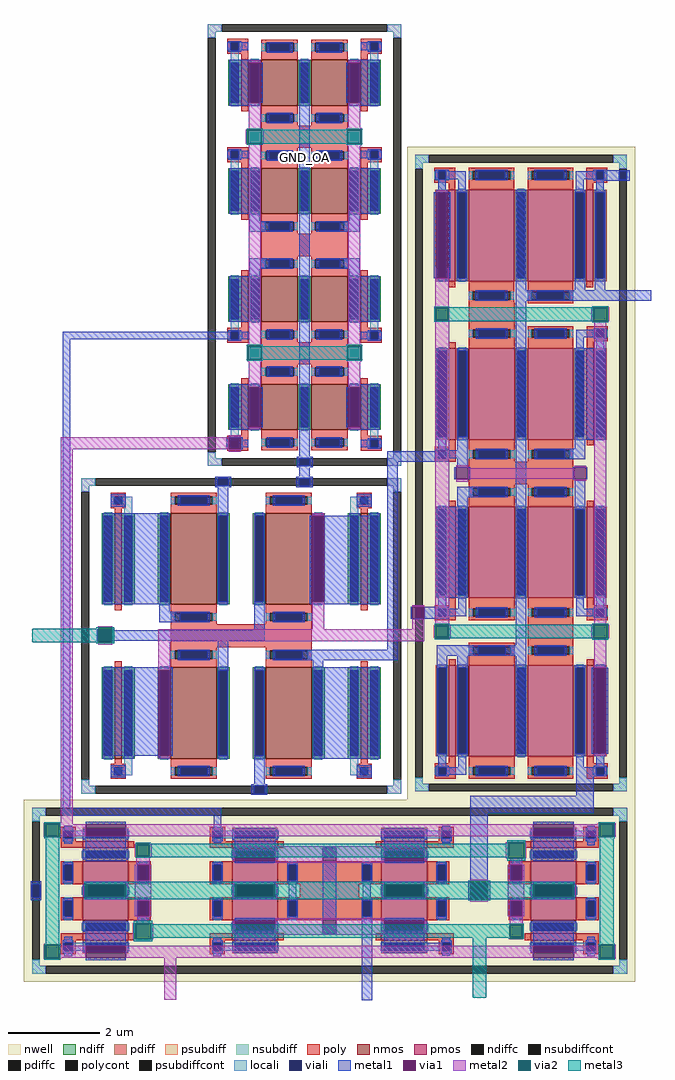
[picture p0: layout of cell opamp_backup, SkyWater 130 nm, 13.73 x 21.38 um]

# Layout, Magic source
magic
tech sky130A
magscale 1 2
<< viali >>
rect -473 1374 -425 1408
<< metal1 >>
rect 820 2184 1069 2230
rect -1509 2016 -788 2050
rect -1509 -36 -1475 2016
rect -791 1534 -781 1586
rect -729 1534 -719 1586
rect -87 1479 182 1525
rect -473 1414 -426 1462
rect -485 1408 -413 1414
rect -485 1374 -473 1408
rect -425 1374 -413 1408
rect -485 1368 -413 1374
rect -1358 693 -1348 745
rect -1296 741 -1286 745
rect -1296 696 -690 741
rect -1296 693 -1286 696
rect -87 657 -41 1479
rect 17 793 23 845
rect 75 793 184 845
rect -412 611 -41 657
rect 741 17 817 139
rect -1509 -70 -813 -36
rect -847 -170 -813 -70
rect 278 -59 817 17
rect 278 -361 354 -59
rect 268 -437 278 -361
rect 354 -437 364 -361
rect -199 -878 -153 -511
<< via1 >>
rect -781 1534 -729 1586
rect -1348 693 -1296 745
rect 23 793 75 845
rect 278 -437 354 -361
<< metal2 >>
rect -781 1586 -729 1596
rect -1517 1534 -781 1586
rect -1517 -159 -1465 1534
rect -781 1524 -729 1534
rect 23 845 75 851
rect -1352 749 -1292 759
rect 23 745 75 793
rect -415 693 75 745
rect -1352 679 -1292 689
rect 278 -361 354 -351
rect 278 -447 354 -437
rect -1063 -877 -1011 -641
<< via2 >>
rect -1352 745 -1292 749
rect -1352 693 -1348 745
rect -1348 693 -1296 745
rect -1296 693 -1292 745
rect -1352 689 -1292 693
rect 278 -437 354 -361
<< metal3 >>
rect -1362 749 -1282 754
rect -1641 689 -1352 749
rect -1292 689 -1282 749
rect -1362 684 -1282 689
rect 268 -361 364 -356
rect 268 -437 278 -361
rect 354 -437 364 -361
rect 268 -442 364 -437
rect 287 -868 347 -546
use nmoscs34  nmoscs34_0
transform 1 0 -656 0 1 765
box -770 -745 630 649
use nmoscs89  nmoscs89_0
transform 1 0 -696 0 1 2952
box -176 -1496 670 445
use pmoscs67  pmoscs67_0
transform 0 1 548 -1 0 -282
box -282 -2226 516 452
use pmoscs  pmoscs_0
transform 1 0 153 0 1 1705
box -153 -1705 846 1155
<< labels >>
flabel space -448 2812 -448 2812 0 FreeSans 480 0 0 0 GND_OA
port 4 nsew
<< end >>

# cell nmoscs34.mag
magic
tech sky130A
magscale 1 2
<< psubdiff >>
rect -770 609 -710 643
rect 570 609 630 643
rect -770 583 -736 609
rect 596 583 630 609
rect -770 -705 -736 -679
rect 596 -705 630 -679
rect -770 -739 -710 -705
rect 570 -739 630 -705
<< psubdiffcont >>
rect -710 609 570 643
rect -770 -679 -736 583
rect 596 -679 630 583
rect -710 -739 570 -705
<< poly >>
rect -178 2 38 3
rect -378 -98 238 2
<< locali >>
rect -770 609 -710 643
rect 570 609 630 643
rect -770 583 -736 609
rect 596 583 630 609
rect -592 528 -548 562
rect -582 478 -548 528
rect 408 528 486 562
rect 408 478 442 528
rect -582 -624 -548 -574
rect -626 -658 -548 -624
rect 408 -624 442 -574
rect 408 -658 486 -624
rect -770 -705 -736 -679
rect 596 -705 630 -679
rect -770 -739 -710 -705
rect 570 -739 630 -705
<< viali >>
rect -172 609 -126 643
rect -14 -739 32 -705
<< metal1 >>
rect -184 643 -114 649
rect -184 609 -172 643
rect -126 609 -114 643
rect -184 603 -114 609
rect -642 518 -576 572
rect -172 490 -126 603
rect 436 518 502 572
rect -676 90 -384 490
rect 231 102 241 478
rect 293 102 536 478
rect 231 90 536 102
rect -430 58 -384 90
rect -430 12 -348 58
rect -14 -23 32 90
rect -172 -69 32 -23
rect -676 -198 -371 -186
rect -172 -187 -126 -69
rect 209 -154 290 -108
rect 244 -186 290 -154
rect -676 -574 -433 -198
rect -381 -574 -371 -198
rect 244 -586 536 -186
rect -172 -587 -126 -586
rect -642 -668 -576 -614
rect -14 -699 32 -586
rect 436 -668 502 -614
rect -26 -705 44 -699
rect -26 -739 -14 -705
rect 32 -739 44 -705
rect -26 -745 44 -739
<< via1 >>
rect 241 102 293 478
rect -433 -574 -381 -198
<< metal2 >>
rect 241 478 293 488
rect 241 -20 293 102
rect -433 -72 293 -20
rect -433 -198 -381 -72
rect -433 -584 -381 -574
use sky130_fd_pr__nfet_01v8_46AAJJ  sky130_fd_pr__nfet_01v8_46AAJJ_0
transform 1 0 -278 0 1 290
box -158 -288 158 288
use sky130_fd_pr__nfet_01v8_46AAJJ  sky130_fd_pr__nfet_01v8_46AAJJ_1
transform 1 0 138 0 1 -386
box -158 -288 158 288
use sky130_fd_pr__nfet_01v8_46AAJJ  sky130_fd_pr__nfet_01v8_46AAJJ_2
transform 1 0 138 0 1 290
box -158 -288 158 288
use sky130_fd_pr__nfet_01v8_46AAJJ  sky130_fd_pr__nfet_01v8_46AAJJ_3
transform 1 0 -278 0 1 -386
box -158 -288 158 288
use sky130_fd_pr__nfet_01v8_TCR5KT  sky130_fd_pr__nfet_01v8_TCR5KT_0
transform 1 0 -609 0 -1 -417
box -73 -257 73 257
use sky130_fd_pr__nfet_01v8_TCR5KT  sky130_fd_pr__nfet_01v8_TCR5KT_1
transform 1 0 -609 0 1 321
box -73 -257 73 257
use sky130_fd_pr__nfet_01v8_TCR5KT  sky130_fd_pr__nfet_01v8_TCR5KT_2
transform 1 0 469 0 1 321
box -73 -257 73 257
use sky130_fd_pr__nfet_01v8_TCR5KT  sky130_fd_pr__nfet_01v8_TCR5KT_3
transform 1 0 469 0 -1 -417
box -73 -257 73 257
<< labels >>
flabel metal1 -493 267 -493 267 0 FreeSans 800 0 0 0 D3
port 0 nsew
flabel metal1 336 267 336 267 0 FreeSans 800 0 0 0 D4
port 1 nsew
flabel metal1 -151 -141 -151 -141 0 FreeSans 800 0 0 0 RS
port 2 nsew
flabel metal1 10 -649 10 -649 0 FreeSans 800 0 0 0 GND
port 3 nsew
flabel space 138 292 138 292 0 FreeSans 160 0 0 0 M4
flabel space -272 -387 -272 -387 0 FreeSans 160 0 0 0 M4
flabel space 142 -379 142 -379 0 FreeSans 160 0 0 0 M3
flabel space -280 292 -280 292 0 FreeSans 160 0 0 0 M3
flabel metal1 -406 370 -406 370 0 FreeSans 160 0 0 0 D3
flabel metal1 270 -471 270 -471 0 FreeSans 160 0 0 0 D3
flabel via1 265 380 265 380 0 FreeSans 160 0 0 0 D4
flabel via1 -410 -471 -406 -469 0 FreeSans 160 0 0 0 D4
<< end >>

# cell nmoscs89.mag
magic
tech sky130A
magscale 1 2
<< psubdiff >>
rect -176 411 -116 445
rect 610 411 670 445
rect -176 385 -142 411
rect 636 385 670 411
rect -176 -1456 -142 -1430
rect 636 -1456 670 -1430
rect -176 -1490 -116 -1456
rect 610 -1490 670 -1456
<< psubdiffcont >>
rect -116 411 610 445
rect -176 -1430 -142 385
rect 636 -1430 670 385
rect -116 -1490 610 -1456
<< poly >>
rect -92 364 0 380
rect -92 330 -76 364
rect -42 330 0 364
rect -92 314 0 330
rect 494 364 586 380
rect 494 330 536 364
rect 570 330 586 364
rect 494 314 586 330
rect -92 -110 0 -94
rect 58 -98 436 0
rect -92 -144 -76 -110
rect -42 -144 0 -110
rect -92 -160 0 -144
rect 494 -110 586 -94
rect 494 -144 536 -110
rect 570 -144 586 -110
rect 494 -160 586 -144
rect 58 -572 436 -474
rect -92 -902 0 -886
rect -92 -936 -76 -902
rect -42 -936 0 -902
rect -92 -952 0 -936
rect 494 -902 586 -886
rect 494 -936 536 -902
rect 570 -936 586 -902
rect 58 -1045 436 -948
rect 494 -952 586 -936
rect -92 -1375 0 -1359
rect -92 -1409 -76 -1375
rect -42 -1409 0 -1375
rect -92 -1425 0 -1409
rect 494 -1375 586 -1359
rect 494 -1409 536 -1375
rect 570 -1409 586 -1375
rect 494 -1425 586 -1409
<< polycont >>
rect -76 330 -42 364
rect 536 330 570 364
rect -76 -144 -42 -110
rect 536 -144 570 -110
rect -76 -936 -42 -902
rect 536 -936 570 -902
rect -76 -1409 -42 -1375
rect 536 -1409 570 -1375
<< locali >>
rect -176 411 -116 445
rect 610 411 670 445
rect -176 385 -142 411
rect 636 385 670 411
rect -92 330 -76 364
rect -42 330 -26 364
rect 520 330 536 364
rect 570 330 586 364
rect -76 276 -42 330
rect 536 276 570 330
rect -92 -144 -76 -110
rect -42 -144 -26 -110
rect 520 -144 536 -110
rect 570 -144 586 -110
rect -76 -198 -42 -144
rect 536 -198 570 -144
rect -76 -902 -42 -848
rect 536 -902 570 -848
rect -92 -936 -76 -902
rect -42 -936 -26 -902
rect 520 -936 536 -902
rect 570 -936 586 -902
rect -76 -1375 -42 -1321
rect 536 -1375 570 -1321
rect -92 -1409 -76 -1375
rect -42 -1409 -26 -1375
rect 520 -1409 536 -1375
rect 570 -1409 586 -1375
rect -176 -1456 -142 -1430
rect 636 -1456 670 -1430
rect -176 -1490 -116 -1456
rect 610 -1490 670 -1456
<< viali >>
rect -76 330 -42 364
rect 536 330 570 364
rect -76 -144 -42 -110
rect 536 -144 570 -110
rect -76 -936 -42 -902
rect 536 -936 570 -902
rect -76 -1409 -42 -1375
rect 536 -1409 570 -1375
rect 224 -1490 270 -1456
<< metal1 >>
rect -88 364 -30 370
rect 524 364 582 370
rect -92 330 -76 364
rect -42 330 0 364
rect 494 330 536 364
rect 570 330 586 364
rect -88 324 -30 330
rect 524 324 582 330
rect -82 276 52 288
rect -82 100 3 276
rect 55 100 65 276
rect -82 88 52 100
rect -88 -110 -30 -104
rect -92 -144 -76 -110
rect -42 -144 0 -110
rect -88 -150 -30 -144
rect -82 -386 52 -186
rect 6 -418 52 -386
rect 6 -464 81 -418
rect 6 -628 81 -582
rect 6 -660 52 -628
rect -82 -860 52 -660
rect -88 -902 -30 -896
rect -92 -936 -76 -902
rect -42 -936 0 -902
rect -88 -942 -30 -936
rect -82 -1145 52 -1133
rect -82 -1321 3 -1145
rect 55 -1321 65 -1145
rect -82 -1333 52 -1321
rect 224 -1333 270 288
rect 442 276 576 288
rect 429 100 439 276
rect 491 100 576 276
rect 442 88 576 100
rect 524 -110 582 -104
rect 494 -144 536 -110
rect 570 -144 586 -110
rect 524 -150 582 -144
rect 442 -386 576 -186
rect 442 -418 488 -386
rect 413 -464 488 -418
rect 413 -628 488 -582
rect 442 -660 488 -628
rect 442 -860 576 -660
rect 524 -902 582 -896
rect 494 -936 536 -902
rect 570 -936 586 -902
rect 524 -942 582 -936
rect 442 -1145 576 -1133
rect 429 -1321 439 -1145
rect 491 -1321 576 -1145
rect 442 -1333 576 -1321
rect -88 -1375 -30 -1369
rect -92 -1409 -76 -1375
rect -42 -1409 0 -1375
rect -88 -1415 -30 -1409
rect 223 -1450 270 -1333
rect 524 -1375 582 -1369
rect 494 -1409 536 -1375
rect 570 -1409 586 -1375
rect 524 -1415 582 -1409
rect 212 -1456 282 -1450
rect 212 -1490 224 -1456
rect 270 -1490 282 -1456
rect 212 -1496 282 -1490
<< via1 >>
rect 3 100 55 276
rect 3 -1321 55 -1145
rect 439 100 491 276
rect 439 -1321 491 -1145
<< metal2 >>
rect 3 276 55 286
rect 3 -19 55 100
rect 439 276 491 286
rect 439 -10 491 100
rect 435 -19 495 -10
rect -10 -79 -1 -19
rect 59 -79 68 -19
rect 3 -957 55 -79
rect 435 -88 495 -79
rect 439 -957 491 -88
rect -1 -966 59 -957
rect -1 -1035 59 -1026
rect 435 -966 495 -957
rect 435 -1035 495 -1026
rect 3 -1145 55 -1035
rect 3 -1331 55 -1321
rect 439 -1145 491 -1035
rect 439 -1331 491 -1321
<< via2 >>
rect -1 -79 59 -19
rect 435 -79 495 -19
rect -1 -1026 59 -966
rect 435 -1026 495 -966
<< metal3 >>
rect -6 -19 64 -14
rect 430 -19 500 -14
rect -6 -79 -1 -19
rect 59 -79 435 -19
rect 495 -79 500 -19
rect -6 -84 64 -79
rect 430 -84 500 -79
rect -6 -966 64 -961
rect 430 -966 500 -961
rect -6 -1026 -1 -966
rect 59 -1026 435 -966
rect 495 -1026 500 -966
rect -6 -1031 64 -1026
rect 430 -1031 500 -1026
use sky130_fd_pr__nfet_01v8_5MNGEB  sky130_fd_pr__nfet_01v8_5MNGEB_0
transform 1 0 247 0 1 -1233
box -247 -188 247 188
use sky130_fd_pr__nfet_01v8_5MNGEB  sky130_fd_pr__nfet_01v8_5MNGEB_1
transform 1 0 247 0 1 188
box -247 -188 247 188
use sky130_fd_pr__nfet_01v8_5MNGEB  sky130_fd_pr__nfet_01v8_5MNGEB_2
transform 1 0 247 0 1 -286
box -247 -188 247 188
use sky130_fd_pr__nfet_01v8_5MNGEB  sky130_fd_pr__nfet_01v8_5MNGEB_3
transform 1 0 247 0 1 -760
box -247 -188 247 188
use sky130_fd_pr__nfet_01v8_VGC7SA  sky130_fd_pr__nfet_01v8_VGC7SA_0
transform 1 0 -15 0 1 -1233
box -73 -126 73 126
use sky130_fd_pr__nfet_01v8_VGC7SA  sky130_fd_pr__nfet_01v8_VGC7SA_1
transform 1 0 509 0 1 -1233
box -73 -126 73 126
use sky130_fd_pr__nfet_01v8_VGC7SA  sky130_fd_pr__nfet_01v8_VGC7SA_2
transform 1 0 509 0 1 -760
box -73 -126 73 126
use sky130_fd_pr__nfet_01v8_VGC7SA  sky130_fd_pr__nfet_01v8_VGC7SA_3
transform 1 0 509 0 1 -286
box -73 -126 73 126
use sky130_fd_pr__nfet_01v8_VGC7SA  sky130_fd_pr__nfet_01v8_VGC7SA_4
transform 1 0 509 0 1 188
box -73 -126 73 126
use sky130_fd_pr__nfet_01v8_VGC7SA  sky130_fd_pr__nfet_01v8_VGC7SA_5
transform 1 0 -15 0 1 188
box -73 -126 73 126
use sky130_fd_pr__nfet_01v8_VGC7SA  sky130_fd_pr__nfet_01v8_VGC7SA_6
transform 1 0 -15 0 1 -286
box -73 -126 73 126
use sky130_fd_pr__nfet_01v8_VGC7SA  sky130_fd_pr__nfet_01v8_VGC7SA_7
transform 1 0 -15 0 1 -760
box -73 -126 73 126
<< labels >>
flabel metal1 246 47 246 47 0 FreeSans 800 0 0 0 GND
port 1 nsew
flabel metal2 28 -437 28 -437 0 FreeSans 800 0 0 0 D9
port 2 nsew
flabel metal1 518 -777 518 -777 0 FreeSans 800 0 0 0 D8
port 3 nsew
flabel space 359 -292 359 -292 0 FreeSans 160 0 0 0 M8
flabel space 130 -288 130 -288 0 FreeSans 160 0 0 0 M8
flabel space 356 -754 356 -754 0 FreeSans 160 0 0 0 M8
flabel space 140 -752 140 -752 0 FreeSans 160 0 0 0 M8
flabel space 352 -1231 352 -1231 0 FreeSans 160 0 0 0 M9
flabel space 150 -1228 150 -1228 0 FreeSans 160 0 0 0 M9
flabel space 347 186 347 186 0 FreeSans 160 0 0 0 M9
flabel space 143 189 143 189 0 FreeSans 160 0 0 0 M9
<< end >>

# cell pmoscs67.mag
magic
tech sky130A
magscale 1 2
<< nwell >>
rect -282 -1996 516 452
rect -282 -1999 -101 -1996
rect -282 -2061 -96 -1999
rect -282 -2062 -64 -2061
rect 2 -2062 516 -1996
rect -282 -2226 516 -2062
<< nsubdiff >>
rect -246 382 -186 416
rect 420 382 480 416
rect -246 356 -212 382
rect 446 356 480 382
rect -246 -2156 -212 -2130
rect 446 -2156 480 -2130
rect -246 -2190 -186 -2156
rect 420 -2190 480 -2156
<< nsubdiffcont >>
rect -186 382 420 416
rect -246 -2130 -212 356
rect 446 -2130 480 356
rect -186 -2190 420 -2156
<< poly >>
rect -162 275 -70 291
rect -162 241 -146 275
rect -112 241 -70 275
rect -162 225 -70 241
rect -100 220 -70 225
rect 304 275 396 291
rect 304 241 346 275
rect 380 241 396 275
rect 304 225 396 241
rect 304 220 334 225
rect -162 -359 -70 -343
rect -162 -393 -146 -359
rect -112 -393 -70 -359
rect -162 -409 -70 -393
rect -100 -434 -70 -409
rect 304 -359 396 -343
rect 304 -393 346 -359
rect 380 -393 396 -359
rect 304 -409 396 -393
rect 304 -434 334 -409
rect -12 -1017 246 -757
rect -100 -1345 -70 -1340
rect -162 -1361 -70 -1345
rect -162 -1395 -146 -1361
rect -112 -1395 -70 -1361
rect -162 -1411 -70 -1395
rect 304 -1346 334 -1340
rect 304 -1362 396 -1346
rect 304 -1396 346 -1362
rect 380 -1396 396 -1362
rect 304 -1412 396 -1396
rect -100 -1999 -70 -1994
rect -162 -2015 -70 -1999
rect -162 -2049 -146 -2015
rect -112 -2049 -70 -2015
rect -162 -2065 -70 -2049
rect 304 -1999 334 -1994
rect 304 -2015 396 -1999
rect 304 -2049 346 -2015
rect 380 -2049 396 -2015
rect 304 -2065 396 -2049
<< polycont >>
rect -146 241 -112 275
rect 346 241 380 275
rect -146 -393 -112 -359
rect 346 -393 380 -359
rect -146 -1395 -112 -1361
rect 346 -1396 380 -1362
rect -146 -2049 -112 -2015
rect 346 -2049 380 -2015
<< locali >>
rect -246 382 -186 416
rect 420 382 480 416
rect -246 356 -212 382
rect 446 356 480 382
rect -162 241 -146 275
rect -112 241 -96 275
rect 330 241 346 275
rect 380 241 396 275
rect -146 181 -112 241
rect 346 179 380 241
rect -162 -393 -146 -359
rect -112 -393 -96 -359
rect 330 -393 346 -359
rect 380 -393 396 -359
rect -146 -476 -112 -393
rect -146 -1361 -112 -1302
rect -162 -1395 -146 -1361
rect -112 -1395 -96 -1361
rect 346 -1362 380 -1302
rect 330 -1396 346 -1362
rect 380 -1396 396 -1362
rect -146 -2015 -112 -1956
rect 346 -2015 380 -1956
rect -162 -2049 -146 -2015
rect -112 -2049 -96 -2015
rect 330 -2049 346 -2015
rect 380 -2049 396 -2015
rect -246 -2156 -212 -2130
rect 446 -2156 480 -2130
rect -246 -2190 -186 -2156
rect 420 -2190 480 -2156
<< viali >>
rect -146 241 -112 275
rect 346 241 380 275
rect -146 -393 -112 -359
rect 346 -393 380 -359
rect -146 -1395 -112 -1361
rect 346 -1396 380 -1362
rect -146 -2049 -112 -2015
rect 346 -2049 380 -2015
rect 88 -2190 146 -2156
<< metal1 >>
rect -158 275 -100 281
rect 334 275 392 281
rect -168 241 -146 275
rect -112 241 -82 275
rect 320 241 346 275
rect 380 241 405 275
rect -158 235 -100 241
rect 334 235 392 241
rect -184 6 -174 182
rect -122 6 -14 182
rect 79 6 89 182
rect 145 6 155 182
rect 248 6 359 182
rect 411 6 421 182
rect -6 -96 4 -44
rect 72 -96 82 -44
rect 152 -96 162 -44
rect 230 -96 240 -44
rect -158 -359 -100 -353
rect 334 -359 392 -353
rect -168 -393 -146 -359
rect -112 -393 -90 -359
rect 324 -393 346 -359
rect 380 -393 403 -359
rect -158 -399 -100 -393
rect 334 -399 392 -393
rect 345 -472 380 -399
rect -156 -648 -67 -472
rect -15 -648 -5 -472
rect 79 -648 89 -472
rect 145 -648 155 -472
rect 239 -648 249 -472
rect 301 -648 390 -472
rect 80 -741 155 -707
rect -77 -917 -71 -857
rect -11 -917 245 -857
rect 305 -917 311 -857
rect 78 -1067 155 -1033
rect -156 -1302 -67 -1126
rect -15 -1302 -5 -1126
rect 79 -1302 89 -1126
rect 145 -1302 155 -1126
rect 239 -1302 249 -1126
rect 301 -1302 390 -1126
rect -158 -1361 -100 -1355
rect -172 -1395 -146 -1361
rect -112 -1395 -92 -1361
rect 334 -1362 392 -1356
rect -158 -1401 -100 -1395
rect 324 -1396 346 -1362
rect 380 -1396 405 -1362
rect 334 -1402 392 -1396
rect -6 -1730 4 -1678
rect 72 -1730 82 -1678
rect 152 -1730 162 -1678
rect 230 -1730 240 -1678
rect -184 -1956 -174 -1780
rect -122 -1956 -14 -1780
rect 79 -1956 89 -1780
rect 145 -1956 155 -1780
rect 248 -1956 359 -1780
rect 411 -1956 422 -1780
rect -158 -2015 -100 -2009
rect 334 -2015 392 -2009
rect -168 -2049 -146 -2015
rect -112 -2049 -88 -2015
rect 320 -2049 346 -2015
rect 380 -2049 404 -2015
rect -158 -2055 -100 -2049
rect 334 -2055 392 -2049
rect 76 -2156 158 -2150
rect 76 -2190 88 -2156
rect 146 -2190 158 -2156
rect 76 -2196 158 -2190
<< via1 >>
rect -174 6 -122 182
rect 89 6 145 182
rect 359 6 411 182
rect 4 -96 72 -44
rect 162 -96 230 -44
rect -67 -648 -15 -472
rect 89 -648 145 -472
rect 249 -648 301 -472
rect -71 -917 -11 -857
rect 245 -917 305 -857
rect -67 -1302 -15 -1126
rect 89 -1302 145 -1126
rect 249 -1302 301 -1126
rect 4 -1730 72 -1678
rect 162 -1730 230 -1678
rect -174 -1956 -122 -1780
rect 89 -1956 145 -1780
rect 359 -1956 411 -1780
<< metal2 >>
rect -178 357 -118 366
rect -178 288 -118 297
rect 355 357 415 366
rect 355 288 415 297
rect -174 182 -122 288
rect -174 -1780 -122 6
rect 89 182 145 192
rect 89 -4 145 6
rect 359 182 411 288
rect -94 -35 -24 -25
rect 4 -42 230 -34
rect 4 -44 266 -42
rect -24 -96 4 -44
rect 72 -96 162 -44
rect 230 -96 266 -44
rect -94 -115 -24 -105
rect 4 -98 266 -96
rect 322 -98 331 -42
rect 4 -106 230 -98
rect -67 -472 -15 -462
rect 89 -472 145 -462
rect 249 -472 301 -462
rect -77 -857 -5 -648
rect 89 -658 145 -648
rect -77 -917 -71 -857
rect -11 -917 -5 -857
rect -77 -1126 -5 -917
rect 239 -857 311 -648
rect 239 -917 245 -857
rect 305 -917 311 -857
rect 89 -1126 145 -1116
rect 239 -1126 311 -917
rect -67 -1312 -15 -1302
rect 89 -1312 145 -1302
rect 249 -1312 301 -1302
rect -87 -1674 -31 -1667
rect 4 -1674 230 -1668
rect -89 -1676 230 -1674
rect -89 -1732 -87 -1676
rect -31 -1678 230 -1676
rect 259 -1669 329 -1659
rect -31 -1730 4 -1678
rect 72 -1730 162 -1678
rect 230 -1730 259 -1678
rect -31 -1732 230 -1730
rect -89 -1734 230 -1732
rect -87 -1741 -31 -1734
rect 4 -1740 230 -1734
rect 259 -1749 329 -1739
rect -174 -2062 -122 -1956
rect 89 -1780 145 -1770
rect 89 -1966 145 -1956
rect 359 -1780 411 6
rect 359 -2062 411 -1956
rect -178 -2071 -118 -2062
rect -178 -2140 -118 -2131
rect 355 -2071 415 -2062
rect 355 -2140 415 -2131
<< via2 >>
rect -178 297 -118 357
rect 355 297 415 357
rect 89 6 145 182
rect -94 -105 -24 -35
rect 266 -98 322 -42
rect 89 -648 145 -472
rect 89 -1302 145 -1126
rect -87 -1732 -31 -1676
rect 259 -1739 329 -1669
rect 89 -1956 145 -1780
rect -178 -2131 -118 -2071
rect 355 -2131 415 -2071
<< metal3 >>
rect -183 357 -113 362
rect 350 357 420 362
rect -183 297 -178 357
rect -118 297 355 357
rect 415 297 420 357
rect -183 292 -113 297
rect 350 292 420 297
rect 79 182 155 187
rect 79 6 89 182
rect 145 6 155 182
rect -104 -35 -14 -30
rect -104 -105 -94 -35
rect -24 -105 -14 -35
rect -104 -110 -14 -105
rect -89 -1671 -29 -110
rect 79 -472 155 6
rect 261 -42 327 -37
rect 261 -98 266 -42
rect 322 -98 327 -42
rect 261 -103 327 -98
rect 79 -648 89 -472
rect 145 -648 155 -472
rect 79 -1126 155 -648
rect 79 -1302 89 -1126
rect 145 -1302 155 -1126
rect -92 -1676 -26 -1671
rect -92 -1732 -87 -1676
rect -31 -1732 -26 -1676
rect -92 -1737 -26 -1732
rect 79 -1780 155 -1302
rect 264 -1664 324 -103
rect 249 -1669 339 -1664
rect 249 -1739 259 -1669
rect 329 -1739 339 -1669
rect 249 -1744 339 -1739
rect 79 -1956 89 -1780
rect 145 -1956 155 -1780
rect 79 -1961 155 -1956
rect -183 -2071 -113 -2066
rect 350 -2071 420 -2066
rect -183 -2131 -178 -2071
rect -118 -2131 355 -2071
rect 415 -2131 420 -2071
rect -183 -2136 -113 -2131
rect 350 -2136 420 -2131
use sky130_fd_pr__pfet_01v8_2XUZHN  sky130_fd_pr__pfet_01v8_2XUZHN_0
transform 1 0 -85 0 1 -560
box -109 -162 109 162
use sky130_fd_pr__pfet_01v8_2XUZHN  sky130_fd_pr__pfet_01v8_2XUZHN_1
transform 1 0 -85 0 1 -1868
box -109 -162 109 162
use sky130_fd_pr__pfet_01v8_2XUZHN  sky130_fd_pr__pfet_01v8_2XUZHN_2
transform 1 0 -85 0 1 94
box -109 -162 109 162
use sky130_fd_pr__pfet_01v8_2XUZHN  sky130_fd_pr__pfet_01v8_2XUZHN_3
transform 1 0 319 0 1 94
box -109 -162 109 162
use sky130_fd_pr__pfet_01v8_2XUZHN  sky130_fd_pr__pfet_01v8_2XUZHN_4
transform 1 0 319 0 1 -560
box -109 -162 109 162
use sky130_fd_pr__pfet_01v8_2XUZHN  sky130_fd_pr__pfet_01v8_2XUZHN_5
transform 1 0 319 0 1 -1214
box -109 -162 109 162
use sky130_fd_pr__pfet_01v8_2XUZHN  sky130_fd_pr__pfet_01v8_2XUZHN_6
transform 1 0 -85 0 1 -1214
box -109 -162 109 162
use sky130_fd_pr__pfet_01v8_2XUZHN  sky130_fd_pr__pfet_01v8_2XUZHN_7
transform 1 0 319 0 1 -1868
box -109 -162 109 162
use sky130_fd_pr__pfet_01v8_BHVYY6  sky130_fd_pr__pfet_01v8_BHVYY6_0
transform 1 0 117 0 1 -1868
box -223 -200 223 200
use sky130_fd_pr__pfet_01v8_BHVYY6  sky130_fd_pr__pfet_01v8_BHVYY6_1
transform 1 0 117 0 1 94
box -223 -200 223 200
use sky130_fd_pr__pfet_01v8_BHVYY6  sky130_fd_pr__pfet_01v8_BHVYY6_2
transform 1 0 117 0 1 -560
box -223 -200 223 200
use sky130_fd_pr__pfet_01v8_BHVYY6  sky130_fd_pr__pfet_01v8_BHVYY6_3
transform 1 0 117 0 1 -1214
box -223 -200 223 200
<< labels >>
flabel nwell 36 -1868 36 -1868 0 FreeSans 160 0 0 0 M7
flabel nwell 200 -1867 200 -1867 0 FreeSans 160 0 0 0 M7
flabel nwell 34 -1215 34 -1215 0 FreeSans 160 0 0 0 M6
flabel nwell 201 -1212 201 -1212 0 FreeSans 160 0 0 0 M6
flabel nwell 33 -560 33 -560 0 FreeSans 160 0 0 0 M6
flabel nwell 196 -560 196 -560 0 FreeSans 160 0 0 0 M6
flabel metal1 83 -2172 83 -2172 0 FreeSans 800 0 0 0 VDD
port 1 nsew
flabel metal3 114 -1525 114 -1525 0 FreeSans 800 0 0 0 D5
port 2 nsew
flabel metal1 115 -1051 115 -1051 0 FreeSans 800 0 0 0 VIN
port 3 nsew
flabel metal1 323 -1210 323 -1210 0 FreeSans 800 0 0 0 D6
port 4 nsew
flabel metal2 112 -69 112 -69 0 FreeSans 800 0 0 0 VIP
port 6 nsew
flabel metal1 -87 99 -87 99 0 FreeSans 800 0 0 0 OUT
port 5 nsew
flabel nwell 201 92 201 92 0 FreeSans 160 0 0 0 M7
flabel nwell 34 95 34 95 0 FreeSans 160 0 0 0 M7
<< end >>

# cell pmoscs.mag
magic
tech sky130A
magscale 1 2
<< nwell >>
rect -153 -1705 846 1155
<< nsubdiff >>
rect -117 1085 -57 1119
rect 750 1085 810 1119
rect -117 1059 -83 1085
rect 776 1059 810 1085
rect -117 -1635 -83 -1609
rect 776 -1635 810 -1609
rect -117 -1669 -57 -1635
rect 750 -1669 810 -1635
<< nsubdiffcont >>
rect -57 1085 750 1119
rect -117 -1609 -83 1059
rect 776 -1609 810 1059
rect -57 -1669 750 -1635
<< poly >>
rect -33 1047 59 1063
rect -33 1013 -17 1047
rect 17 1013 59 1047
rect -33 997 59 1013
rect 29 966 59 997
rect 633 1047 725 1063
rect 633 1013 675 1047
rect 709 1013 725 1047
rect 633 997 725 1013
rect 633 991 663 997
rect 117 369 318 470
rect 634 353 726 369
rect 634 319 676 353
rect 710 319 726 353
rect 634 303 726 319
rect 634 272 664 303
rect 30 -159 60 -128
rect -32 -175 60 -159
rect -32 -209 -16 -175
rect 18 -209 60 -175
rect -32 -225 60 -209
rect 118 -325 576 -225
rect 30 -853 60 -822
rect -32 -869 60 -853
rect -32 -903 -16 -869
rect 18 -903 60 -869
rect -32 -919 60 -903
rect 634 -853 664 -822
rect 634 -869 726 -853
rect 634 -903 676 -869
rect 710 -903 726 -869
rect 376 -1021 576 -918
rect 634 -919 726 -903
rect 30 -1547 60 -1516
rect -32 -1563 60 -1547
rect -32 -1597 -16 -1563
rect 18 -1597 60 -1563
rect -32 -1613 60 -1597
rect 634 -1547 664 -1516
rect 634 -1563 726 -1547
rect 634 -1597 676 -1563
rect 710 -1597 726 -1563
rect 634 -1613 726 -1597
<< polycont >>
rect -17 1013 17 1047
rect 675 1013 709 1047
rect 676 319 710 353
rect -16 -209 18 -175
rect -16 -903 18 -869
rect 676 -903 710 -869
rect -16 -1597 18 -1563
rect 676 -1597 710 -1563
<< locali >>
rect -117 1085 -57 1119
rect 750 1085 810 1119
rect -117 1059 -83 1085
rect 776 1059 810 1085
rect -33 1013 -17 1047
rect 17 1013 33 1047
rect 659 1013 675 1047
rect 709 1013 725 1047
rect -17 966 17 1013
rect 71 966 105 970
rect 675 954 709 1013
rect 660 319 676 353
rect 710 319 726 353
rect 588 272 622 276
rect 676 272 710 319
rect -16 -175 18 -128
rect 72 -132 106 -128
rect -32 -209 -16 -175
rect 18 -209 34 -175
rect -16 -869 18 -822
rect 72 -826 106 -822
rect 588 -826 622 -822
rect 676 -869 710 -822
rect -32 -903 -16 -869
rect 18 -903 34 -869
rect 660 -903 676 -869
rect 710 -903 726 -869
rect -16 -1563 18 -1516
rect 72 -1520 106 -1516
rect 588 -1520 622 -1516
rect 676 -1563 710 -1516
rect -32 -1597 -16 -1563
rect 18 -1597 34 -1563
rect 660 -1597 676 -1563
rect 710 -1597 726 -1563
rect -117 -1635 -83 -1609
rect 776 -1635 810 -1609
rect -117 -1669 -57 -1635
rect 750 -1669 810 -1635
<< viali >>
rect -17 1013 17 1047
rect 675 1013 709 1047
rect 776 1012 810 1046
rect 676 319 710 353
rect -16 -209 18 -175
rect -16 -903 18 -869
rect 676 -903 710 -869
rect -16 -1597 18 -1563
rect 676 -1597 710 -1563
<< metal1 >>
rect -29 1047 29 1053
rect 663 1052 721 1053
rect 663 1047 823 1052
rect -29 1013 -17 1047
rect 17 1013 105 1047
rect -29 1007 29 1013
rect -17 966 17 1007
rect 71 966 105 1013
rect 587 1013 675 1047
rect 709 1046 823 1047
rect 709 1013 776 1046
rect -36 578 -26 954
rect 26 578 36 954
rect 324 525 369 966
rect 587 961 621 1013
rect 663 1012 776 1013
rect 810 1012 823 1046
rect 663 1007 823 1012
rect 664 1006 823 1007
rect 675 954 709 1006
rect 581 525 627 566
rect 669 525 715 566
rect 324 479 404 525
rect 546 479 715 525
rect -16 -169 18 -128
rect -28 -175 30 -169
rect 66 -175 112 -128
rect -28 -209 -16 -175
rect 18 -209 112 -175
rect -28 -215 30 -209
rect 66 -250 112 -209
rect 53 -302 63 -250
rect 115 -302 125 -250
rect 66 -381 147 -335
rect 66 -422 113 -381
rect -22 -822 112 -422
rect -16 -863 18 -822
rect -28 -869 30 -863
rect 72 -869 106 -822
rect -28 -903 -16 -869
rect 18 -903 106 -869
rect -28 -909 30 -903
rect 324 -1029 369 479
rect 664 353 722 359
rect 588 319 676 353
rect 710 319 722 353
rect 588 272 622 319
rect 664 313 722 319
rect 676 272 710 313
rect 582 -128 716 272
rect 582 -169 628 -128
rect 547 -215 628 -169
rect 573 -302 579 -250
rect 631 -302 637 -250
rect 582 -429 628 -302
rect 588 -869 622 -822
rect 676 -863 710 -822
rect 664 -869 722 -863
rect 588 -903 676 -869
rect 710 -903 722 -869
rect 664 -909 722 -903
rect -22 -1075 147 -1029
rect 289 -1075 369 -1029
rect -22 -1116 24 -1075
rect 66 -1116 112 -1075
rect 324 -1516 369 -1075
rect 657 -1504 667 -1128
rect 719 -1504 729 -1128
rect -16 -1557 18 -1516
rect -28 -1563 30 -1557
rect 72 -1563 106 -1516
rect -28 -1597 -16 -1563
rect 18 -1597 106 -1563
rect 588 -1563 622 -1516
rect 676 -1557 710 -1516
rect 664 -1563 722 -1557
rect 588 -1597 676 -1563
rect 710 -1597 722 -1563
rect -28 -1603 30 -1597
rect 664 -1603 722 -1597
<< via1 >>
rect -26 578 26 954
rect 63 -302 115 -250
rect 579 -302 631 -250
rect 667 -1504 719 -1128
<< metal2 >>
rect -26 954 26 964
rect -30 578 -26 625
rect 26 578 30 625
rect -30 453 30 578
rect -30 449 31 453
rect -30 393 -28 449
rect 28 393 31 449
rect -30 391 31 393
rect 654 391 663 451
rect 723 391 732 451
rect -29 -941 31 391
rect 63 -250 115 -240
rect 579 -250 631 -244
rect 115 -299 579 -253
rect 63 -312 115 -302
rect 579 -308 631 -302
rect 667 -939 719 391
rect -36 -997 -27 -941
rect 29 -997 38 -941
rect -29 -999 31 -997
rect 654 -999 663 -939
rect 723 -999 732 -939
rect 667 -1128 719 -999
rect 667 -1514 719 -1504
<< via2 >>
rect -28 393 28 449
rect 663 391 723 451
rect -27 -997 29 -941
rect 663 -999 723 -939
<< metal3 >>
rect -33 451 33 454
rect 658 451 728 456
rect -33 449 663 451
rect -33 393 -28 449
rect 28 393 663 449
rect -33 391 663 393
rect 723 391 728 451
rect -33 388 33 391
rect 658 386 728 391
rect -32 -939 34 -936
rect 658 -939 728 -934
rect -32 -941 663 -939
rect -32 -997 -27 -941
rect 29 -997 663 -941
rect -32 -999 663 -997
rect 723 -999 728 -939
rect -32 -1002 34 -999
rect 658 -1004 728 -999
use sky130_fd_pr__pfet_01v8_2ZH9AN  sky130_fd_pr__pfet_01v8_2ZH9AN_1
transform 1 0 45 0 1 -1316
box -109 -262 109 262
use sky130_fd_pr__pfet_01v8_2ZH9AN  sky130_fd_pr__pfet_01v8_2ZH9AN_2
transform 1 0 45 0 1 -622
box -109 -262 109 262
use sky130_fd_pr__pfet_01v8_2ZH9AN  sky130_fd_pr__pfet_01v8_2ZH9AN_3
transform 1 0 45 0 1 72
box -109 -262 109 262
use sky130_fd_pr__pfet_01v8_2ZH9AN  sky130_fd_pr__pfet_01v8_2ZH9AN_4
transform 1 0 44 0 1 766
box -109 -262 109 262
use sky130_fd_pr__pfet_01v8_2ZH9AN  sky130_fd_pr__pfet_01v8_2ZH9AN_5
transform 1 0 649 0 1 -1316
box -109 -262 109 262
use sky130_fd_pr__pfet_01v8_2ZH9AN  sky130_fd_pr__pfet_01v8_2ZH9AN_6
transform 1 0 648 0 1 766
box -109 -262 109 262
use sky130_fd_pr__pfet_01v8_2ZH9AN  sky130_fd_pr__pfet_01v8_2ZH9AN_7
transform 1 0 649 0 1 72
box -109 -262 109 262
use sky130_fd_pr__pfet_01v8_2ZH9AN  sky130_fd_pr__pfet_01v8_2ZH9AN_8
transform 1 0 649 0 1 -622
box -109 -262 109 262
use sky130_fd_pr__pfet_01v8_SDE6B7  sky130_fd_pr__pfet_01v8_SDE6B7_0
transform 1 0 346 0 1 766
box -323 -300 323 300
use sky130_fd_pr__pfet_01v8_SDE6B7  sky130_fd_pr__pfet_01v8_SDE6B7_1
transform 1 0 347 0 1 72
box -323 -300 323 300
use sky130_fd_pr__pfet_01v8_SDE6B7  sky130_fd_pr__pfet_01v8_SDE6B7_2
transform 1 0 347 0 1 -622
box -323 -300 323 300
use sky130_fd_pr__pfet_01v8_SDE6B7  sky130_fd_pr__pfet_01v8_SDE6B7_3
transform 1 0 347 0 1 -1316
box -323 -300 323 300
<< labels >>
flabel metal1 594 -378 594 -378 0 FreeSans 800 0 0 0 D1
port 0 nsew
flabel metal1 598 -1536 598 -1536 0 FreeSans 800 0 0 0 D5
port 1 nsew
flabel metal1 606 290 606 290 0 FreeSans 800 0 0 0 D2
port 2 nsew
flabel metal1 594 1022 594 1022 0 FreeSans 800 0 0 0 VDD
port 3 nsew
<< end >>

# cell sky130_fd_pr__pfet_01v8_2ZH9AN: kit device sky130_fd_pr__pfet_01v8, w 2 l 0.15 m 1 nf 1 diffcov 100 polycov 100 guard 0 glc 1 grc 1 gtc 1 gbc 1 tbcov 100 rlcov 100 topc 0 botc 0 poverlap 0 doverlap 1 lmin 0.15 wmin 0.42 compatible {sky130_fd_pr__pfet_01v8 sky130_fd_pr__pfet_01v8_lvt sky130_fd_pr__pfet_01v8_hvt sky130_fd_pr__pfet_g5v0d10v5} full_metal 1 viasrc 100 viadrn 100 viagate 100 viagb 0 viagr 0 viagl 0 viagt 0

# cell sky130_fd_pr__pfet_01v8_SDE6B7: kit device sky130_fd_pr__pfet_01v8, w 2 l 1 m 1 nf 2 diffcov 100 polycov 100 guard 0 glc 1 grc 1 gtc 1 gbc 1 tbcov 100 rlcov 100 topc 1 botc 1 poverlap 0 doverlap 1 lmin 0.15 wmin 0.42 compatible {sky130_fd_pr__pfet_01v8 sky130_fd_pr__pfet_01v8_lvt sky130_fd_pr__pfet_01v8_hvt sky130_fd_pr__pfet_g5v0d10v5} full_metal 1 viasrc 100 viadrn 100 viagate 70 viagb 0 viagr 0 viagl 0 viagt 0

# cell sky130_fd_pr__pfet_01v8_2XUZHN: kit device sky130_fd_pr__pfet_01v8, w 1 l 0.15 m 1 nf 1 diffcov 100 polycov 100 guard 0 glc 1 grc 1 gtc 1 gbc 1 tbcov 100 rlcov 100 topc 0 botc 0 poverlap 0 doverlap 1 lmin 0.15 wmin 0.42 compatible {sky130_fd_pr__pfet_01v8 sky130_fd_pr__pfet_01v8_lvt sky130_fd_pr__pfet_01v8_hvt sky130_fd_pr__pfet_g5v0d10v5} full_metal 1 viasrc 100 viadrn 100 viagate 100 viagb 0 viagr 0 viagl 0 viagt 0

# cell sky130_fd_pr__pfet_01v8_BHVYY6: kit device sky130_fd_pr__pfet_01v8, w 1 l 0.5 m 1 nf 2 diffcov 100 polycov 100 guard 0 glc 1 grc 1 gtc 1 gbc 1 tbcov 100 rlcov 100 topc 1 botc 1 poverlap 0 doverlap 1 lmin 0.15 wmin 0.42 compatible {sky130_fd_pr__pfet_01v8 sky130_fd_pr__pfet_01v8_lvt sky130_fd_pr__pfet_01v8_hvt sky130_fd_pr__pfet_g5v0d10v5} full_metal 1 viasrc 100 viadrn 100 viagate 100 viagb 0 viagr 0 viagl 0 viagt 0

# cell sky130_fd_pr__nfet_01v8_5MNGEB: kit device sky130_fd_pr__nfet_01v8, w 1 l 0.8 m 1 nf 2 diffcov 100 polycov 100 guard 0 glc 1 grc 1 gtc 1 gbc 1 tbcov 100 rlcov 100 topc 1 botc 1 poverlap 0 doverlap 1 lmin 0.15 wmin 0.42 compatible {sky130_fd_pr__nfet_01v8 sky130_fd_pr__nfet_01v8_lvt sky130_fd_bs_flash__special_sonosfet_star sky130_fd_pr__nfet_g5v0d10v5 sky130_fd_pr__nfet_05v0_nvt sky130_fd_pr__nfet_03v3_nvt} full_metal 1 viasrc 100 viadrn 100 viagate 70 viagb 0 viagr 0 viagl 0 viagt 0

# cell sky130_fd_pr__nfet_01v8_VGC7SA: kit device sky130_fd_pr__nfet_01v8, w 1 l 0.150 m 1 nf 1 diffcov 100 polycov 100 guard 0 glc 1 grc 1 gtc 1 gbc 1 tbcov 100 rlcov 100 topc 0 botc 0 poverlap 0 doverlap 1 lmin 0.15 wmin 0.42 compatible {sky130_fd_pr__nfet_01v8 sky130_fd_pr__nfet_01v8_lvt sky130_fd_bs_flash__special_sonosfet_star sky130_fd_pr__nfet_g5v0d10v5 sky130_fd_pr__nfet_05v0_nvt sky130_fd_pr__nfet_03v3_nvt} full_metal 1 viasrc 100 viadrn 100 viagate 70 viagb 0 viagr 0 viagl 0 viagt 0

# cell sky130_fd_pr__nfet_01v8_46AAJJ: kit device sky130_fd_pr__nfet_01v8, w 2 l 1 m 1 nf 1 diffcov 100 polycov 100 guard 0 glc 1 grc 1 gtc 1 gbc 1 tbcov 100 rlcov 100 topc 1 botc 1 poverlap 0 doverlap 1 lmin 0.15 wmin 0.42 compatible {sky130_fd_pr__nfet_01v8 sky130_fd_pr__nfet_01v8_lvt sky130_fd_bs_flash__special_sonosfet_star sky130_fd_pr__nfet_g5v0d10v5 sky130_fd_pr__nfet_05v0_nvt sky130_fd_pr__nfet_03v3_nvt} full_metal 1 viasrc 100 viadrn 100 viagate 70 viagb 0 viagr 0 viagl 0 viagt 0

# cell sky130_fd_pr__nfet_01v8_TCR5KT: kit device sky130_fd_pr__nfet_01v8, w 2 l 0.150 m 1 nf 1 diffcov 100 polycov 100 guard 0 glc 1 grc 1 gtc 1 gbc 1 tbcov 100 rlcov 100 topc 1 botc 0 poverlap 0 doverlap 1 lmin 0.15 wmin 0.42 compatible {sky130_fd_pr__nfet_01v8 sky130_fd_pr__nfet_01v8_lvt sky130_fd_bs_flash__special_sonosfet_star sky130_fd_pr__nfet_g5v0d10v5 sky130_fd_pr__nfet_05v0_nvt sky130_fd_pr__nfet_03v3_nvt} full_metal 1 viasrc 100 viadrn 100 viagate 100 viagb 0 viagr 0 viagl 0 viagt 0
